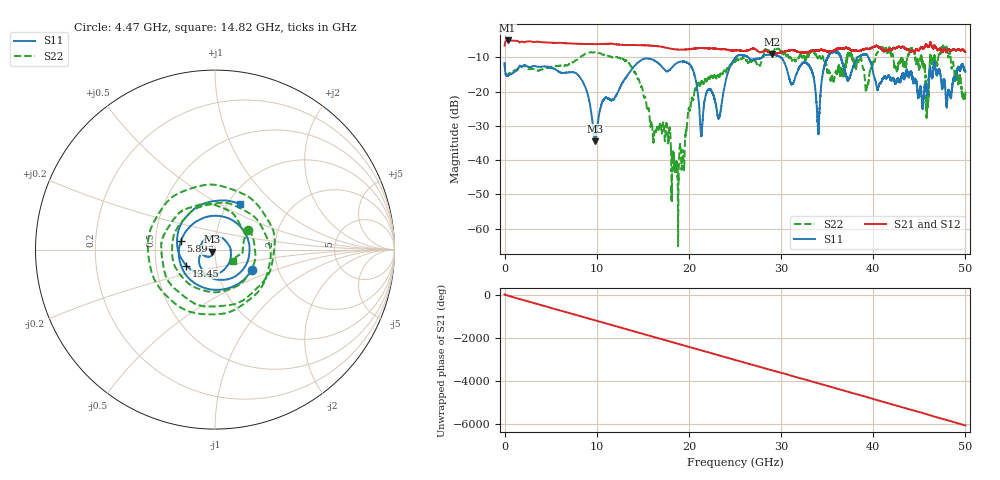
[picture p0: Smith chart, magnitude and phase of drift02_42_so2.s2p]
!Created with skrf (http://scikit-rf.org).
# Hz S RI R 50.0
!freq ReS11 ImS11 ReS21 ImS21 ReS12 ImS12 ReS22 ImS22
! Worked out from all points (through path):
!   10001 points, 300 kHz to 50 GHz, reference 50 ohm
!   highest |S21| = -5.04 dB at 325.3 MHz (marker M1); lowest = -9.0 dB at 29.01 GHz (marker M2)
!   group delay of S21, straight-line fit = 336 ps
!   lowest |S11| = -34.5 dB at 9.84 GHz (marker M3), VSWR 1.04, Z = 48.5 - j1.04 ohm
!   |S11| at or under -10 dB: start of sweep to 25.07 GHz; 29.98 GHz to 35.06 GHz (5.082 GHz wide, 15.6 % of centre); 39.48 GHz to end of sweep (the widest 3 of 9)
!   |S22| runs from -65.1 to -6.5 dB; largest |S21 - S12| = 0.021
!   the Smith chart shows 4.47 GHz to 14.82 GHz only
!   S11 on the Smith chart (normalised r, x): 4.47 GHz: 1.46, -0.35; 5.89 GHz: 0.68, +0.07; 13.45 GHz: 0.71, -0.13; 14.82 GHz: 1.13, +0.63
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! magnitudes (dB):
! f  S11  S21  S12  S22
! 300 kHz  -11.6  -6.5  -6.4  -11.5
! 325.3 MHz  -15.4  -5.0  -5.0  -15.0
! 4.47 GHz  -12.6  -5.6  -5.6  -13.3
! 5.89 GHz  -14.2  -5.7  -5.7  -12.5
! 8.335 GHz  -16.4  -6.1  -6.0  -9.6
! 9.84 GHz  -34.5  -6.1  -6.1  -8.5
! 13.45 GHz  -14.7  -6.4  -6.4  -11.6
! 14.82 GHz  -10.8  -6.4  -6.4  -18.5
! 16.67 GHz  -11.6  -6.7  -6.7  -30.9
! 18.66 GHz  -11.7  -7.7  -7.7  -41.0
! 20.37 GHz  -13.3  -7.5  -7.5  -21.8
! 21.37 GHz  -32.6  -7.3  -7.2  -17.0
! 23.31 GHz  -27.3  -7.5  -7.6  -15.7
! 25 GHz  -10.3  -7.9  -8.0  -11.2
! 29.01 GHz  -9.1  -9.0  -9.0  -8.2
! 33.34 GHz  -13.9  -8.1  -8.2  -8.1
! 34.02 GHz  -32.0  -8.0  -7.9  -10.2
! 35.52 GHz  -8.4  -8.2  -8.1  -15.5
! 41.67 GHz  -15.3  -7.7  -7.8  -7.4
! 45.86 GHz  -21.1  -6.7  -6.8  -21.2
! 47.76 GHz  -17.4  -7.5  -7.5  -7.3
! 50 GHz  -14.1  -8.4  -8.4  -20.0
